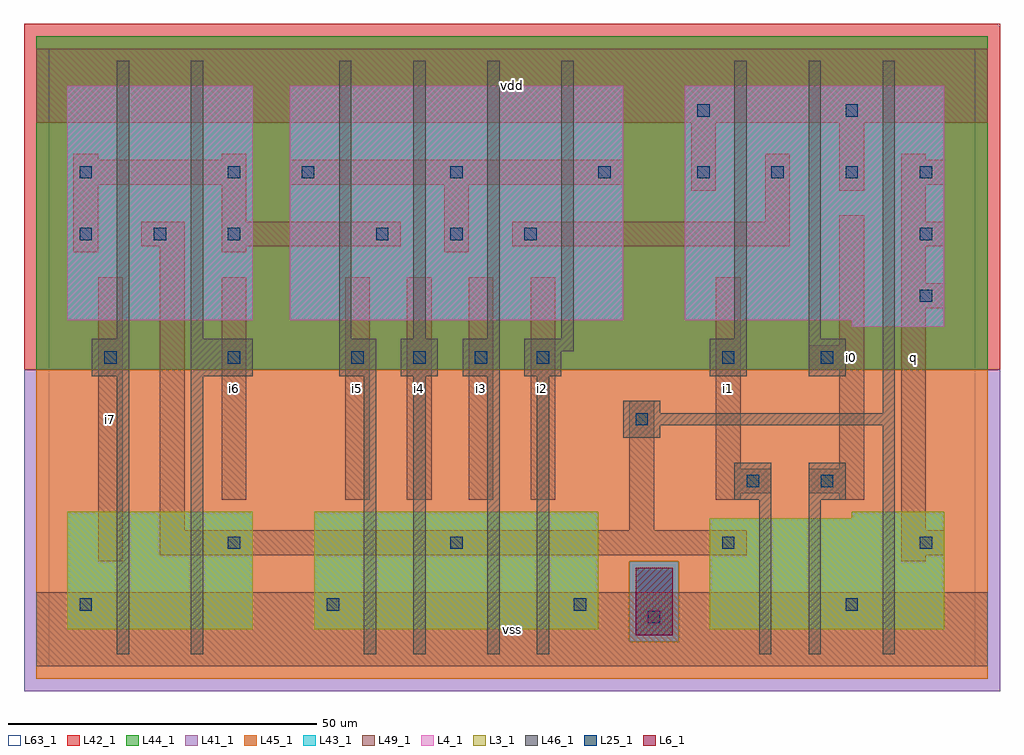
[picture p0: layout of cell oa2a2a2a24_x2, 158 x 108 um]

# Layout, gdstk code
import gdstk
lib = gdstk.Library(unit=1e-6, precision=1e-09)
def R(c, l, rs):  # rectangles x0, y0, x1, y1
    for r in rs: c.add(gdstk.rectangle(r[:2], r[2:], *l))
def A(c, l, x, y, w, h, nx, ny, dx, dy):  # array of equal rectangles
    R(c, l, [(x+i*dx, y+j*dy, x+i*dx+w, y+j*dy+h) for i in range(nx) for j in range(ny)])
L3_1 = (3, 1)
L4_1 = (4, 1)
L6_1 = (6, 1)
L25_1 = (25, 1)
L41_1 = (41, 1)
L42_1 = (42, 1)
L43_1 = (43, 1)
L44_1 = (44, 1)
L45_1 = (45, 1)
L46_1 = (46, 1)
L49_1 = (49, 1)
L63_1 = (63, 1)

oa2a2a2a24_x2 = lib.new_cell('oa2a2a2a24_x2')
R(oa2a2a2a24_x2, L3_1, [(3,6,33,25), (43,6,89,25), (107,6,145,24), (130,24,145,25)])
R(oa2a2a2a24_x2, L4_1, [(130,55,145,56), (3,56,33,94), (39,56,93,94), (103,56,145,94)])
R(oa2a2a2a24_x2, L6_1, [(95,5,101,16), (95,5,101,16)])
A(oa2a2a2a24_x2, L25_1, 5, 9, 2, 2, 3, 1, 40, 0)
A(oa2a2a2a24_x2, L25_1, 9, 49, 2, 2, 3, 1, 20, 0)
A(oa2a2a2a24_x2, L25_1, 59, 49, 2, 2, 3, 1, 10, 0)
A(oa2a2a2a24_x2, L25_1, 5, 69, 2, 2, 3, 1, 12, 0)
A(oa2a2a2a24_x2, L25_1, 53, 69, 2, 2, 3, 1, 12, 0)
A(oa2a2a2a24_x2, L25_1, 41, 79, 2, 2, 3, 1, 24, 0)
A(oa2a2a2a24_x2, L25_1, 105, 79, 2, 2, 4, 1, 12, 0)
R(oa2a2a2a24_x2, L25_1, [(97,7,99,9), (129,9,131,11), (29,19,31,21), (65,19,67,21), (109,19,111,21), (141,19,143,21), (113,29,115,31), (125,29,127,31), (95,39,97,41), (109,49,111,51), (125,49,127,51), (141,59,143,61), (141,69,143,71), (5,79,7,81), (29,79,31,81), (105,89,107,91), (129,89,131,91)])
R(oa2a2a2a24_x2, L41_1, [(-4,-4,154,48)])
R(oa2a2a2a24_x2, L42_1, [(-4,48,154,104)])
R(oa2a2a2a24_x2, L43_1, [(95,5,101,16), (3,6,33,25), (43,6,89,25), (107,6,145,24), (130,24,145,25), (130,55,145,56), (3,56,33,94), (39,56,93,94), (103,56,145,94)])
R(oa2a2a2a24_x2, L44_1, [(94,4,102,17), (-2,48,152,102)])
R(oa2a2a2a24_x2, L45_1, [(-2,-2,152,4), (-2,4,94,17), (102,4,152,17), (-2,17,152,48)])
A(oa2a2a2a24_x2, L46_1, 47, 47, 6, 6, 3, 1, 10, 0)
A(oa2a2a2a24_x2, L46_1, 47, 53, 2, 45, 4, 1, 12, 0)
R(oa2a2a2a24_x2, L46_1, [(11,2,13,47), (23,2,25,47), (51,2,53,47), (59,2,61,47), (71,2,73,47), (79,2,81,47), (115,2,117,27), (123,2,125,27), (135,2,137,39), (111,27,117,33), (123,27,129,33), (93,37,99,39), (93,39,137,41), (93,41,99,43), (135,41,137,98), (7,47,13,53), (23,47,33,53), (77,47,83,51), (107,47,113,53), (123,47,129,53), (77,51,85,53), (11,53,13,98), (23,53,25,98), (111,53,113,98), (123,53,125,98)])
A(oa2a2a2a24_x2, L49_1, 48, 27, 4, 36, 4, 1, 10, 0)
A(oa2a2a2a24_x2, L49_1, 138, 58, 7, 4, 1, 3, 0, 10)
R(oa2a2a2a24_x2, L49_1, [(-2,0,152,12), (8,17,12,63), (138,17,142,18), (18,18,113,22), (138,18,145,22), (18,22,22,68), (94,22,98,43), (138,22,142,58), (28,27,32,63), (108,27,112,28), (128,27,132,28), (108,28,117,32), (123,28,132,32), (108,32,112,63), (128,32,132,48), (123,48,132,52), (128,52,132,73), (138,62,142,68), (4,67,8,78), (28,67,32,68), (64,67,68,78), (15,68,22,72), (28,68,57,72), (75,68,120,72), (28,72,32,78), (116,72,120,83), (138,72,142,78), (104,77,108,88), (128,77,132,88), (4,78,32,82), (39,78,93,82), (4,82,8,83), (28,82,32,83), (138,82,142,83), (-2,88,152,100)])
R(oa2a2a2a24_x2, L63_1, [(0,0,150,100)])
oa2a2a2a24_x2.add(gdstk.Label('i7', (10,40), layer=49, texttype=1))
oa2a2a2a24_x2.add(gdstk.Label('i6', (30,45), layer=49, texttype=1))
oa2a2a2a24_x2.add(gdstk.Label('i5', (50,45), layer=49, texttype=1))
oa2a2a2a24_x2.add(gdstk.Label('vss', (75,6), layer=49, texttype=1))
oa2a2a2a24_x2.add(gdstk.Label('i4', (60,45), layer=49, texttype=1))
oa2a2a2a24_x2.add(gdstk.Label('i3', (70,45), layer=49, texttype=1))
oa2a2a2a24_x2.add(gdstk.Label('i2', (80,45), layer=49, texttype=1))
oa2a2a2a24_x2.add(gdstk.Label('vdd', (75,94), layer=49, texttype=1))
oa2a2a2a24_x2.add(gdstk.Label('i1', (110,45), layer=49, texttype=1))
oa2a2a2a24_x2.add(gdstk.Label('q', (140,50), layer=49, texttype=1))
oa2a2a2a24_x2.add(gdstk.Label('i0', (130,50), layer=49, texttype=1))

lib.write_gds('oa2a2a2a24_x2.gds')
